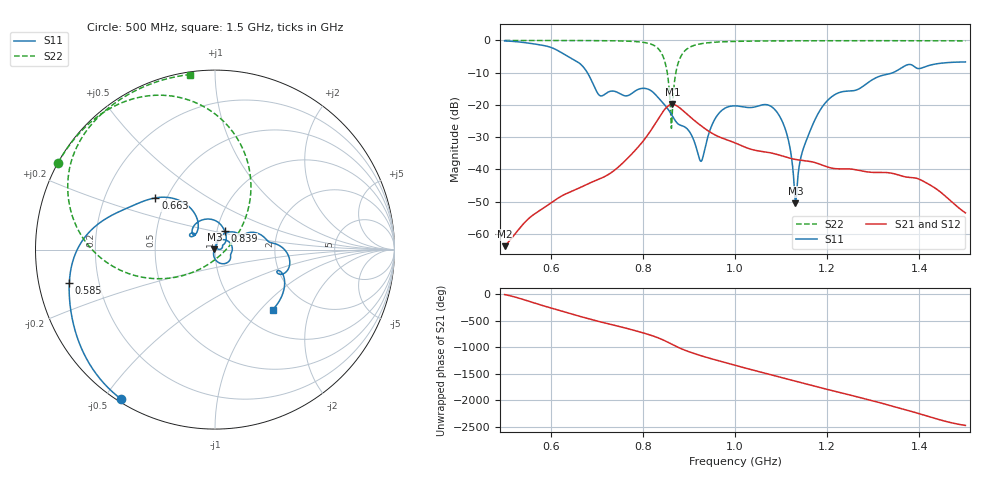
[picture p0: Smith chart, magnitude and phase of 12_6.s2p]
! TOUCHSTONE file generated by CST MICROWAVE STUDIO
! Date and time: Sat Oct 24 11:44:29 2020
! Project name: Scenario_1_Circular_Tissue_out_of_Line.cst
! Parameters = {dy1=-155.249; L_HA=400; MT=2.54; Rad_Dielectric=30; Rad_Lower=7.3; Rad_Upper=30; a_HA=580; a_WG=246; b_HA=500; b_WG=121; c_HA=0; c_WG=187; d_feed=85; dx1=1039; h_feed=15; h_lower=18; h_upper=40}
! Header version: 2018
! Port assignment regex: !\s*Touchstone port\s*([0-9]+)\s*=\s*(CST MWS port|CST DS port)\s*([0-9]+|Zmin|Zmax)\s*\(\"(.*)\"\)(\s*mode\s*([0-9]+))?.*
! Touchstone port assignment:
! Touchstone port 1 = CST MWS port 1 ("")
! Touchstone port 2 = CST MWS port 2 ("")
# GHz S DB R 50
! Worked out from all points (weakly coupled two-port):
!   1001 points, 500 MHz to 1.5 GHz, reference 50 ohm
!   highest |S21| = -19.84 dB at 864 MHz (marker M1); lowest = -63.8 dB at 500 MHz (marker M2)
!   lowest |S11| = -50.5 dB at 1.131 GHz (marker M3), VSWR 1.01, Z = 49.7 + j0.0581 ohm
!   |S11| at or under -10 dB: 679.6 MHz to 1.343 GHz (663 MHz wide, 65.6 % of centre)
!   |S22| runs from -27.3 to 0.0 dB; largest |S21 - S12| = 3.4e-05
!   S11 on the Smith chart (normalised r, x): 500 MHz: 0.01, -0.55; 585 MHz: 0.09, -0.11; 663 MHz: 0.43, +0.31; 839 MHz: 1.09, +0.23; 1.5 GHz: 1.37, -1.17
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0.5  -0.15 -122.1  -63.81 -3.7  -63.81 -3.7  -0.01 151.1
0.585  -1.58 -167.0  -51.92 142.0  -51.93 142.0  -0.02 145.3
0.663  -7.14 139.0  -45.68 -54.8  -45.68 -54.8  -0.04 138.8
0.667  -7.65 135.2  -45.41 -64.3  -45.41 -64.3  -0.04 138.4
0.708  -17.19 138.9  -42.84 -160.0  -42.84 -160.0  -0.07 134.0
0.789  -15.24 135.5  -33.19 21.1  -33.19 21.1  -0.40 118.3
0.834  -17.84 69.1  -24.19 -103.8  -24.19 -103.8  -2.64 88.2
0.839  -18.63 62.7  -23.07 -121.7  -23.07 -121.7  -3.59 81.3
0.852  -20.82 46.5  -20.67 -174.2  -20.67 -174.2  -9.22 55.4
0.864  -23.41 33.8  -19.84 132.3  -19.84 132.3  -21.82 -110.1
0.882  -26.31 29.2  -21.14 58.1  -21.14 58.1  -5.10 -169.0
0.926  -37.50 36.7  -26.43 -78.1  -26.43 -78.1  -1.03 157.4
0.959  -23.77 56.7  -29.48 -160.9  -29.48 -160.9  -0.52 148.0
1  -20.29 4.0  -31.77 100.4  -31.77 100.4  -0.29 140.8
1.091  -22.22 -72.6  -35.34 -108.1  -35.34 -108.1  -0.14 130.8
1.115  -30.41 -105.2  -36.37 -163.0  -36.37 -163.0  -0.12 128.7
1.131  -50.49 168.7  -36.90 161.9  -36.90 161.9  -0.11 127.3
1.146  -34.60 70.8  -37.20 128.8  -37.20 128.8  -0.11 126.1
1.167  -26.67 73.8  -37.64 80.9  -37.63 80.7  -0.10 124.4
1.213  -17.13 45.2  -39.68 -21.0  -39.68 -20.9  -0.09 120.9
1.334  -10.39 8.3  -41.05 66.8  -41.05 66.9  -0.09 111.7
1.5  -6.67 -46.2  -53.48 44.5  -53.41 43.9  -0.13 98.2
